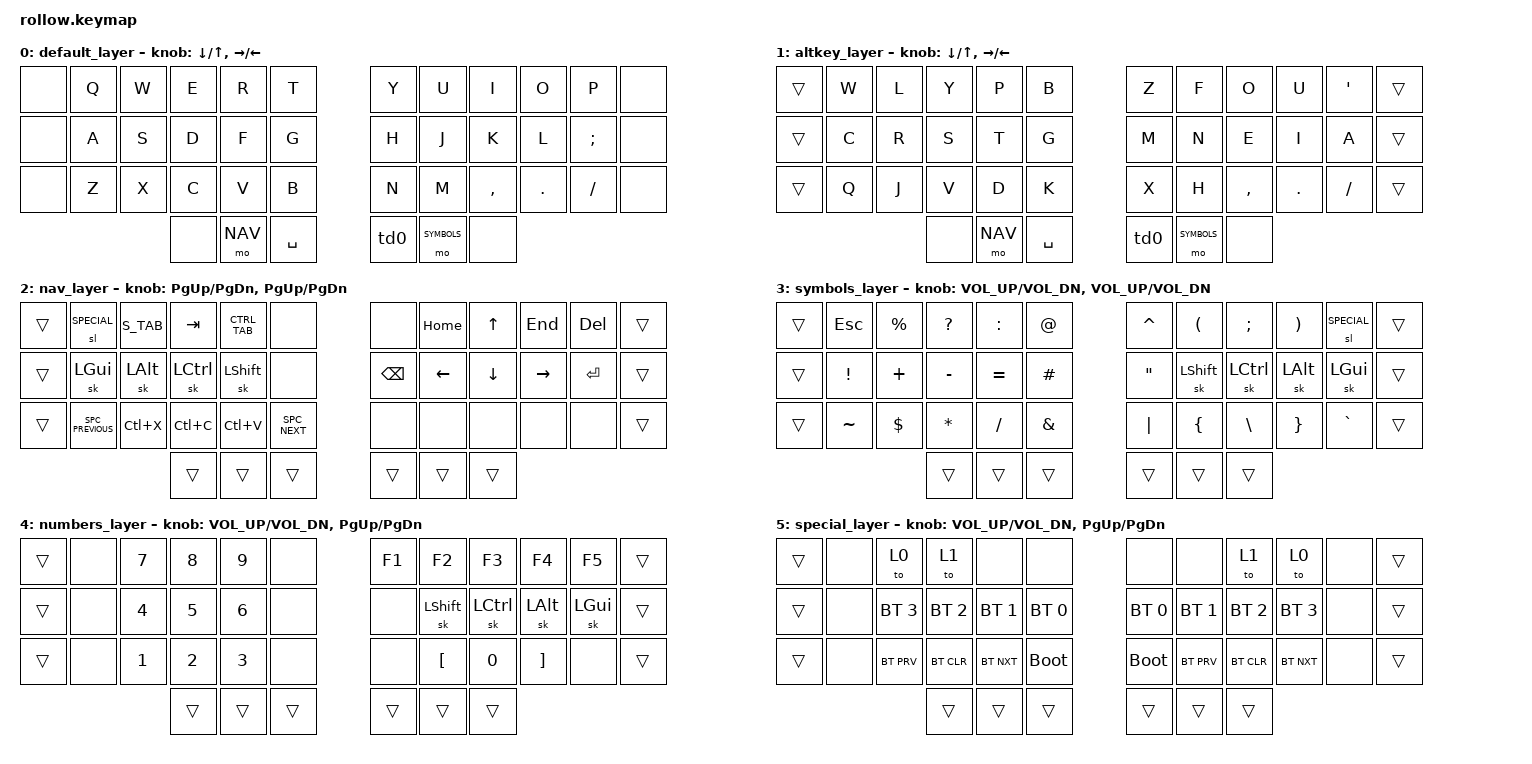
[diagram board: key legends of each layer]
/*
 * Copyright (c) 2020 The ZMK Contributors
 *
 * SPDX-License-Identifier: MIT
 */

#include <behaviors.dtsi>
#include <dt-bindings/zmk/keys.h>
#include <dt-bindings/zmk/bt.h>

#define BASE 0
#define AKL 1
#define NAV 2
#define SYMBOLS 3
#define NUMBERS 4
#define SPECIAL 5

#define LAUNCHER (LG(TAB))
#define CTRL_TAB (LC(TAB))
#define C_S_TAB (LC(LS(TAB)))

#define SPC_PREVIOUS (LC(LG(LEFT)))
#define S_PRV SPC_PREVIOUS

#define SPC_NEXT (LC(LG(RIGHT)))
#define S_NXT SPC_NEXT

&sk {
  release-after-ms = <2000>;
  quick-release;
};

/ {

  chosen {
    zmk,battery = &vbatt;
  };

  vbatt: vbatt {
      compatible = "zmk,battery-nrf-vddh";
      label = "VBATT";
  };

  conditional_layers {
      compatible = "zmk,conditional-layers";
      tri_layer {
          if-layers = <2 3>;
          then-layer = <4>;
      };
  };


  behaviors {
      td0: tap_dance_smart_shift {
          compatible = "zmk,behavior-tap-dance";
          label = "TAP_DANCE_SMART_SHIFT";
          #binding-cells = <0>;
          tapping-term-ms = <200>;
          bindings = <&sk LSHIFT>, <&caps_word>;
      };
  };


        keymap {
                compatible = "zmk,keymap";

                default_layer {
/* Default
 * .-----------------------------------------.                    .-----------------------------------------.
 * | TAB  |   Q  |   W  |   E  |   R  |   T  |                    |   Y  |   U  |   I  |   O  |   P  | BKSP |
 * |------+------+------+------+------+------|                    |------+------+------+------+------+------|
 * | CTRL |   A  |   S  |   D  |   F  |   G  |                    |   H  |   J  |   K  |   L  |   ;  |   '  |
 * |------+------+------+------+------+------|                    |------+------+------+------+------+------|
 * | SHFT |   Z  |   X  |   C  |   V  |   B  |-------.    .-------|   N  |   M  |   ,  |   .  |   /  | SHFT |
 * '-----------------------------------------/       /     \      \-----------------------------------------'
 *                          |  GUI |  LWR | / Space /       \ Space\  |TT(RS)| Tab  |
 *                          |      |      |/       /         \      \ |      |      |
 *                          '-------------''------'           '------''-------------'
 *
 *   Encoder Left: Up <-> Down
 *   Encoder Right: Left <-> Right
 */
                        bindings = <
      &none        &kp        Q &kp        W &kp        E &kp        R &kp        T                 &kp        Y &kp        U &kp        I &kp        O &kp        P &none
      &none        &kp        A &kp        S &kp        D &kp        F &kp        G                 &kp        H &kp        J &kp        K &kp        L &kp     SEMI &none
      &none        &kp        Z &kp        X &kp        C &kp        V &kp        B                 &kp        N &kp        M &kp    COMMA &kp   PERIOD &kp    SLASH &none
                                             &none        &mo      NAV &kp    SPACE                 &td0         &mo  SYMBOLS &none

                        >;

                        sensor-bindings = <&inc_dec_kp DOWN UP &inc_dec_kp RIGHT LEFT>;
                };

                altkey_layer {
/* AKL
 * .-----------------------------------------.                    .-----------------------------------------.
 * | TAB  |   Q  |   W  |   E  |   R  |   T  |                    |   Y  |   U  |   I  |   O  |   P  | BKSP |
 * |------+------+------+------+------+------|                    |------+------+------+------+------+------|
 * | CTRL |   A  |   S  |   D  |   F  |   G  |                    |   H  |   J  |   K  |   L  |   ;  |   '  |
 * |------+------+------+------+------+------|                    |------+------+------+------+------+------|
 * | SHFT |   Z  |   X  |   C  |   V  |   B  |-------.    .-------|   N  |   M  |   ,  |   .  |   /  | SHFT |
 * '-----------------------------------------/       /     \      \-----------------------------------------'
 *                          |  GUI |  LWR | / Space /       \ Space\  |TT(RS)| Tab  |
 *                          |      |      |/       /         \      \ |      |      |
 *                          '-------------''------'           '------''-------------'
 *
 *   Encoder Left: Up <-> Down
 *   Encoder Right: Left <-> Right
 */
                        bindings = <
      &trans       &kp        W &kp        L &kp        Y &kp        P &kp        B                 &kp        Z &kp        F &kp        O &kp        U &kp     APOS &trans
      &trans       &kp        C &kp        R &kp        S &kp        T &kp        G                 &kp        M &kp        N &kp        E &kp        I &kp        A &trans
      &trans       &kp        Q &kp        J &kp        V &kp        D &kp        K                 &kp        X &kp        H &kp    COMMA &kp   PERIOD &kp    SLASH &trans
                                             &none        &mo      NAV &kp    SPACE                 &td0         &mo  SYMBOLS &none
                        >;

                        sensor-bindings = <&inc_dec_kp DOWN UP &inc_dec_kp RIGHT LEFT>;
                };

                nav_layer {
/* NAV
 * .-----------------------------------------.                    .-----------------------------------------.
 * |  ESC |   1  |  2   |  3   |  4   |  5   |                    |   6  |   7  |   8  |   9  |   0  | BKSP |
 * |------+------+------+------+------+------|                    |------+------+------+------+------+------|
 * | BTCLR| BT1  | BT2  | BT3  | BT4  | BT5  |                    |  LFT |  DWN |   UP |  RGT |      |      |
 * |------+------+------+------+------+------|                    |------+------+------+------+------+------|
 * | SHFT |      |      |      |      |      |-------.    .-------|      |      |      |      |      |      |
 * '-----------------------------------------/       /     \      \-----------------------------------------'
 *                          |  GUI |      | / Space /       \ Enter\  |      |  ALT |
 *                          |      |      |/       /         \      \ |      |      |
 *                          '-------------''------'           '------''-------------'
 * 
 *   Encoder Left: PG_UP <-> PG_DN
 *   Encoder Right: -
 */
                        bindings = <
      &trans       &sl  SPECIAL &kp  C_S_TAB &kp      TAB &kp CTRL_TAB &none                        &none        &kp     HOME &kp       UP &kp      END &kp      DEL &trans
      &trans       &sk     LGUI &sk     LALT &sk    LCTRL &sk   LSHIFT &none                        &kp     BSPC &kp     LEFT &kp     DOWN &kp    RIGHT &kp    ENTER &trans
      &trans       &kp    S_PRV &kp    LC(X) &kp    LC(C) &kp    LC(V) &kp    S_NXT                 &none        &none        &none        &none        &none        &trans
                                             &trans       &trans       &trans                       &trans       &trans       &trans
                            >;

                            sensor-bindings = <&inc_dec_kp PG_UP PG_DN &inc_dec_kp PG_UP PG_DN>;
                };

                symbols_layer {
/* SYMBOLS
 * .-----------------------------------------.                    .-----------------------------------------.
 * | ESC  |   !  |   @  |   #  |   $  |   %  |                    |   ^  |   &  |   *  |   (  |   )  | BKSP |
 * |------+------+------+------+------+------|                    |------+------+------+------+------+------|
 * | CTRL |      |      | Prev | Next |      |                    |   -  |   =  |   {  |   }  |  "|" |   `  |
 * |------+------+------+------+------+------|                    |------+------+------+------+------+------|
 * | SHFT |      |      |      |      |      |-------.    .-------|   _  |   +  |   [  |   ]  |   \  |   ~  |
 * '-----------------------------------------/       /     \      \-----------------------------------------'
 *                          | Play |      | / Space /       \ Enter\  |      |  ALT |
 *                          | Paus |      |/       /         \      \ |      |      |
 *                          '------------''------'            '------''-------------'
 *
 *   Encoder Left: -
 *   Encoder Right: VOL_UP <-> VOL_D
 */
                        bindings = <
      &trans       &kp      ESC &kp    PRCNT &kp    QMARK &kp    COLON &kp       AT                 &kp    CARET &kp     LPAR &kp     SEMI &kp     RPAR &sl  SPECIAL &trans
      &trans       &kp     EXCL &kp     PLUS &kp    MINUS &kp    EQUAL &kp     HASH                 &kp      DQT &sk   LSHIFT &sk    LCTRL &sk     LALT &sk     LGUI &trans
      &trans       &kp    TILDE &kp   DOLLAR &kp    ASTRK &kp    SLASH &kp     AMPS                 &kp     PIPE &kp     LBRC &kp     BSLH &kp     RBRC &kp    GRAVE &trans
                                             &trans       &trans       &trans                       &trans       &trans       &trans
                        >;
   
                        sensor-bindings = <&inc_dec_kp C_VOL_UP C_VOL_DN &inc_dec_kp C_VOL_UP C_VOL_DN>;
                };
 
                 numbers_layer {
/* NUMBERS
 * .-----------------------------------------.                    .-----------------------------------------.
 * | ESC  |   !  |   @  |   #  |   $  |   %  |                    |   ^  |   &  |   *  |   (  |   )  | BKSP |
 * |------+------+------+------+------+------|                    |------+------+------+------+------+------|
 * | CTRL |      |      | Prev | Next |      |                    |   -  |   =  |   {  |   }  |  "|" |   `  |
 * |------+------+------+------+------+------|                    |------+------+------+------+------+------|
 * | SHFT |      |      |      |      |      |-------.    .-------|   _  |   +  |   [  |   ]  |   \  |   ~  |
 * '-----------------------------------------/       /     \      \-----------------------------------------'
 *                          | Play |      | / Space /       \ Enter\  |      |  ALT |
 *                          | Paus |      |/       /         \      \ |      |      |
 *                          '------------''------'            '------''-------------'
 *
 *   Encoder Left: -
 *   Encoder Right: VOL_UP <-> VOL_D
 */
                        bindings = <
      &trans       &none        &kp       N7 &kp       N8 &kp       N9 &none                        &kp       F1 &kp       F2 &kp       F3 &kp       F4 &kp       F5 &trans
      &trans       &none        &kp       N4 &kp       N5 &kp       N6 &none                        &none        &sk   LSHIFT &sk    LCTRL &sk     LALT &sk     LGUI &trans
      &trans       &none        &kp       N1 &kp       N2 &kp       N3 &none                        &none        &kp     LBKT &kp       N0 &kp     RBKT &none        &trans
                                             &trans       &trans       &trans                       &trans       &trans       &trans
                        >;
   
                        sensor-bindings = <&inc_dec_kp C_VOL_UP C_VOL_DN &inc_dec_kp PG_UP PG_DN>;
                };

                special_layer {
/* SPECIAL
 * .-----------------------------------------.                    .-----------------------------------------.
 * | ESC  |   !  |   @  |   #  |   $  |   %  |                    |   ^  |   &  |   *  |   (  |   )  | BKSP |
 * |------+------+------+------+------+------|                    |------+------+------+------+------+------|
 * | CTRL |      |      | Prev | Next |      |                    |   -  |   =  |   {  |   }  |  "|" |   `  |
 * |------+------+------+------+------+------|                    |------+------+------+------+------+------|
 * | SHFT |      |      |      |      |      |-------.    .-------|   _  |   +  |   [  |   ]  |   \  |   ~  |
 * '-----------------------------------------/       /     \      \-----------------------------------------'
 *                          | Play |      | / Space /       \ Enter\  |      |  ALT |
 *                          | Paus |      |/       /         \      \ |      |      |
 *                          '------------''------'            '------''-------------'
 *
 *   Encoder Left: -
 *   Encoder Right: VOL_UP <-> VOL_D
 */
                        bindings = <
      &trans       &none        &to 0        &to 1      &none        &none                          &none        &none        &to 1        &to 0        &none        &trans
      &trans       &none        &bt BT_SEL 3 &bt BT_SEL 2 &bt BT_SEL 1 &bt BT_SEL 0                 &bt BT_SEL 0 &bt BT_SEL 1 &bt BT_SEL 2 &bt BT_SEL 3 &none        &trans
      &trans       &none        &bt   BT_PRV &bt   BT_CLR &bt   BT_NXT &bootloader                  &bootloader  &bt   BT_PRV &bt   BT_CLR &bt   BT_NXT &none        &trans
                                             &trans       &trans       &trans                       &trans       &trans       &trans
                        >;
   
                        sensor-bindings = <&inc_dec_kp C_VOL_UP C_VOL_DN &inc_dec_kp PG_UP PG_DN>;
                };
        };
};
